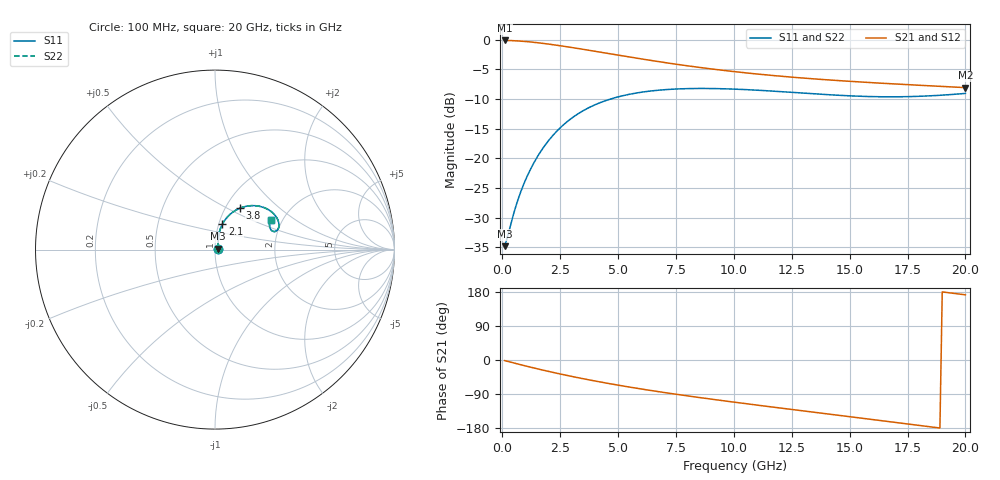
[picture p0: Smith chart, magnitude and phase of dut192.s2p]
! Created with skrf 1.9.0 (http://scikit-rf.org).
# GHz S RI R 50.0
!freq ReS11 ImS11 ReS21 ImS21 ReS12 ImS12 ReS22 ImS22
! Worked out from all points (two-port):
!   200 points, 100 MHz to 20 GHz, reference 50 ohm
!   highest |S21| = -0.15 dB at 100 MHz (marker M1); lowest = -8.1 dB at 20 GHz (marker M2)
!   |S21| within 3 dB of the highest: start of sweep to 5.83 GHz
!   lowest |S11| = -34.8 dB at 100 MHz (marker M3), VSWR 1.04, Z = 51.8 + j0.585 ohm
!   |S11| at or under -10 dB: start of sweep to 4.692 GHz
!   |S22| runs from -34.8 to -8.2 dB; largest |S21 - S12| = 2.4e-15
!   S11 on the Smith chart (normalised r, x): 100 MHz: 1.04, +0.01; 2.1 GHz: 1.04, +0.30; 3.8 GHz: 1.17, +0.58; 20 GHz: 1.75, +0.66
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0.1  0.0173 0.00565  0.9821 -0.027  0.9821 -0.027  0.0173 0.00565
0.2  0.0173 0.0117  0.9803 -0.0543  0.9803 -0.0543  0.0173 0.0117
0.6  0.0175 0.0363  0.9619 -0.1605  0.9619 -0.1605  0.0175 0.0363
0.8  0.0178 0.0492  0.9464 -0.2111  0.9464 -0.2111  0.0178 0.0492
1  0.0187 0.0627  0.9273 -0.2594  0.9273 -0.2594  0.0187 0.0627
1.5  0.0247 0.0988  0.8663 -0.3688  0.8663 -0.3688  0.0247 0.0988
2.1  0.0417 0.1431  0.7757 -0.476  0.7757 -0.476  0.0417 0.1431
2.8  0.0757 0.1887  0.6578 -0.5683  0.6578 -0.5683  0.0757 0.1887
3.5  0.1199 0.2217  0.5369 -0.629  0.5369 -0.629  0.1199 0.2217
3.8  0.1403 0.2313  0.486 -0.6466  0.486 -0.6466  0.1403 0.2313
4.4  0.1812 0.2426  0.3879 -0.6692  0.3879 -0.6692  0.1812 0.2426
5.1  0.2256 0.2445  0.2817 -0.6777  0.2817 -0.6777  0.2256 0.2445
5.9  0.269 0.2355  0.1731 -0.67  0.1731 -0.67  0.269 0.2355
6.8  0.3064 0.2167  0.0673 -0.646  0.0673 -0.646  0.3064 0.2167
8.4  0.3451 0.1757  -0.0826 -0.5805  -0.0826 -0.5805  0.3451 0.1757
10.1  0.3565 0.1368  -0.1999 -0.4958  -0.1999 -0.4958  0.3565 0.1368
11.7  0.3501 0.1122  -0.2812 -0.4104  -0.2812 -0.4104  0.3501 0.1122
13.4  0.3348 0.101  -0.3439 -0.3162  -0.3439 -0.3162  0.3348 0.101
15.1  0.3183 0.1045  -0.3854 -0.2196  -0.3854 -0.2196  0.3183 0.1045
16.7  0.3071 0.1187  -0.4057 -0.1274  -0.4057 -0.1274  0.3071 0.1187
18.3  0.3038 0.1397  -0.4076 -0.0364  -0.4076 -0.0364  0.3038 0.1397
20  0.3108 0.1645  -0.3898 0.0551  -0.3898 0.0551  0.3108 0.1645
